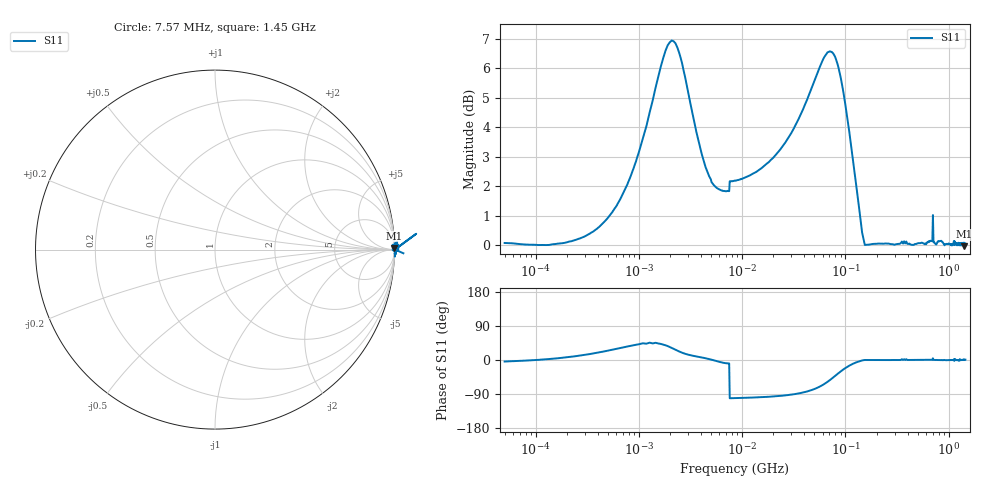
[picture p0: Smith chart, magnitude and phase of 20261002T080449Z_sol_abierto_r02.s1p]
! prueba_sol / sol_abierto / r02
# HZ S RI R 50
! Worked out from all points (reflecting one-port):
!   501 points, 50 kHz to 1.45 GHz, reference 50 ohm
!   lowest |S11| = 0.0 dB at 1.419 GHz (marker M1), VSWR 477.76, Z = 4.51e+03 + j9.35e+03 ohm
!   phase of S11 starts at -4 deg and turns +5 deg over the sweep
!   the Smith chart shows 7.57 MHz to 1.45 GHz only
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50000  1.006 -0.0706
183000  1.002 0.1047
373000  1.008 0.326
658000  1.019 0.6257
1180000  1.161 1.086
1630000  1.484 1.354
1990000  1.825 1.241
2440000  1.959 0.8212
3340000  1.622 0.319
4690000  1.318 0.0681
7300000  1.219 -0.1931
7750000  -0.2405 -1.26
8560000  -0.2352 -1.264
1.81e7  -0.1694 -1.372
3.16e7  -0.0127 -1.576
4.69e7  0.3387 -1.813
5.68e7  0.697 -1.885
6.49e7  1.046 -1.827
7.39e7  1.398 -1.6
8.65e7  1.65 -1.099
9.82e7  1.626 -0.6736
1e8  1.609 -0.6211
1.18e8  1.377 -0.2429
1.36e8  1.148 -0.0697
1.63e8  1.001 -0.00145
4.06e8  1.004 0.00154
1.4185e9  0.9958 0.00864
1.45e9  1.002 0.0153
